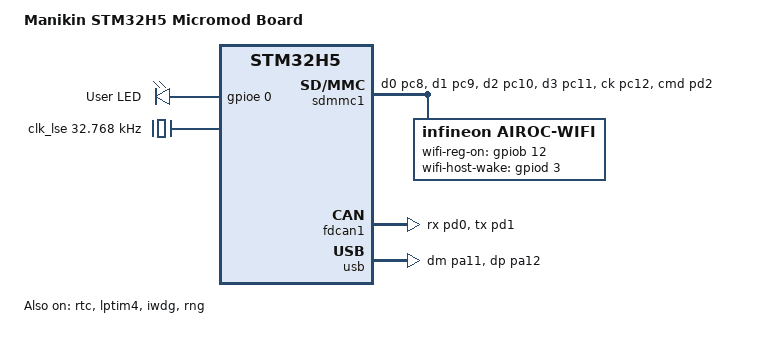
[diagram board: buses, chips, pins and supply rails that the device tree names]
/*
 * Copyright (c) 2025 Kacper Brzostowski
 *
 * SPDX-License-Identifier: Apache-2.0
 */

/dts-v1/;
#include <st/h5/stm32h562Xg.dtsi>
#include <st/h5/stm32h562vgtx-pinctrl.dtsi>
#include <zephyr/dt-bindings/input/input-event-codes.h>

/ {
	model = "Manikin STM32H5 Micromod Board";
	compatible = "manikin,stm32h5-micromod";

	chosen {
		zephyr,console = &usart1;
		zephyr,shell-uart = &usart1;
		zephyr,code-partition = &slot0_partition;
		zephyr,sram = &sram1;
		zephyr,flash = &flash0;
	};

	aliases {
		led0 = &led_0;
		watchdog0 = &iwdg;
	};

	leds {
		compatible = "gpio-leds";

		led_0: led0 {
			gpios = <&gpioe 0 GPIO_ACTIVE_HIGH>;
			label = "User LED";
		};
	};
};

&sdmmc1 {
	pinctrl-0 = <&sdmmc1_d0_pc8 &sdmmc1_d1_pc9
				&sdmmc1_d2_pc10 &sdmmc1_d3_pc11
				&sdmmc1_ck_pc12 &sdmmc1_cmd_pd2>;
	pinctrl-names = "default";
	cd-gpios = <&gpioa 8 (GPIO_ACTIVE_HIGH | GPIO_PULL_UP)>;
	status = "okay";
	airoc-wifi {
      status = "okay";
      compatible = "infineon,airoc-wifi";

      /* Wi-Fi control gpios */
      wifi-reg-on-gpios    = <&gpiob 12 GPIO_ACTIVE_HIGH>;
      wifi-host-wake-gpios = <&gpiod 3 GPIO_ACTIVE_HIGH>;
    };
};


&clk_lsi {
	status = "okay";
};

&clk_lse {
    clock-frequency = <32768>;
    driving-capability = <2>;  /* 0=low, 1=medium-low, 2=medium-high, 3=high */
    status = "okay";
};

&clk_hsi {
	status = "okay";
};

&clk_hse {
	status = "disabled";
};

&rcc {
	clocks = <&pll>;
	clock-frequency = <DT_FREQ_M(240)>;
	ahb-prescaler = <1>;
	apb1-prescaler = <2>;
	apb2-prescaler = <1>;
	apb3-prescaler = <1>;
};

&pll {
    div-m = <4>;    /* 64 MHz / 4 = 16 MHz VCO input */
    mul-n = <30>;   /* 16 MHz × 30 = 480 MHz VCO */
    div-p = <2>;    /* 480 MHz / 2 = 240 MHz SYSCLK */
    div-q = <2>;    /* 480 MHz / 2 = 240 MHz */
    div-r = <2>;    /* 480 MHz / 2 = 240 MHz */
    clocks = <&clk_hsi>;
    status = "okay";
};

&rtc {
	clocks = <&rcc STM32_CLOCK_BUS_APB3 0x00200000>,
			<&rcc STM32_SRC_LSE RTC_SEL(1)>;
	status = "okay";
};

stm32_lp_tick_source: &lptim4 {
	clocks = <&rcc STM32_CLOCK_BUS_APB3 0x2000>,
			<&rcc STM32_SRC_LSI LPTIM4_SEL(4)>;
	status = "okay";
};

&iwdg {
	status = "okay";
};

&usart1 {
	status = "disabled";
	pinctrl-0 = <&usart1_tx_pa9 &usart1_rx_pa10>;
	pinctrl-names = "default";
	current-speed = <115200>;
};

&usart3{
	status = "disabled";
	pinctrl-0 = <&usart3_tx_pd8 &usart3_rx_pd9 &usart3_cts_pb13 &usart3_rts_pd12 >;
	pinctrl-names = "default";
	current-speed = <115200>;
};

&usart6{
	status = "disabled";
	pinctrl-0 = <&usart6_tx_pc6 &usart6_rx_pc7>;
	pinctrl-names = "default";
	current-speed = <115200>;
};

&uart7{
	status = "disabled";
	pinctrl-0 = <&uart7_tx_pe8 &uart7_rx_pe7  &uart7_cts_pe10 &uart7_rts_pe9>;
	pinctrl-names = "default";
	current-speed = <115200>;
	hw-flow-control;
 
	 bt_hci_uart: bt_hci_uart {
		 compatible = "zephyr,bt-hci-uart";
		 status = "disabled";
 
		 murata-1yn {
			 compatible = "infineon,cyw43xxx-bt-hci";
			 bt-reg-on-gpios = <&gpioa 1 GPIO_ACTIVE_HIGH>;
			 bt-host-wake-gpios = <&gpioa 2 GPIO_ACTIVE_HIGH>;
			 bt-dev-wake-gpios = <&gpioe 15 GPIO_ACTIVE_HIGH>;
		 };
	 };
 };


&rng {
	status = "okay";
};

&i2c1 {
	status = "disabled";
	pinctrl-0 = <&i2c1_scl_pb6 &i2c1_sda_pb7>;
	pinctrl-names = "default";
};

&i2c4 {
	status = "disabled";
	pinctrl-0 = <&i2c4_scl_pb8 &i2c4_sda_pb9>;
	pinctrl-names = "default";
};

&spi4 {
	pinctrl-0 = <&spi4_sck_pe12 &spi4_miso_pe13 &spi4_mosi_pe14>;
	pinctrl-names = "default";
	status = "disabled";
};

&spi2 {
	pinctrl-0 = <&spi2_sck_pb10 &spi2_miso_pc2 &spi2_mosi_pc1>;
	pinctrl-names = "default";
	status = "disabled";
};

&i2s1 {
	pinctrl-0 = <&i2s1_ws_pa4 &i2s1_ck_pa5>;
	pinctrl-names = "default";
	status = "disabled";
};

&fdcan1 {
	pinctrl-0 = <&fdcan1_rx_pd0 &fdcan1_tx_pd1>;
	pinctrl-names = "default";
	clocks = <&rcc STM32_CLOCK_BUS_APB1_2 0x00000200>,
		<&rcc STM32_SRC_PLL1_Q FDCAN_SEL(1)>;
	clk-divider = <2>;
	status = "okay";
};

zephyr_udc0: &usb {
	pinctrl-0 = <&usb_dm_pa11 &usb_dp_pa12>;
	pinctrl-names = "default";
	status = "okay";
};

&flash0 {
	partitions {
		compatible = "fixed-partitions";

		#address-cells = <1>;
		#size-cells = <1>;

		boot_partition: partition@0 {
			label = "mcuboot";
			reg = <0x00000000 DT_SIZE_K(64)>;
		};

		slot0_partition: partition@10000 {
			label = "image-0";
			reg = <0x00010000 DT_SIZE_K(448)>;
		};

		slot1_partition: partition@80000 {
			label = "image-1";
			reg = <0x00080000 DT_SIZE_K(448)>;
		};

		storage_partition: partition@f0000 {
			label = "storage";
			reg = <0x000f0000 DT_SIZE_K(64)>;
		};
	};
};
